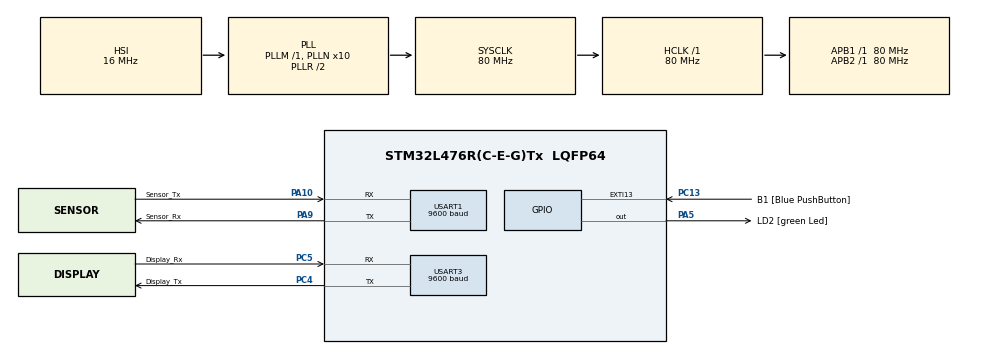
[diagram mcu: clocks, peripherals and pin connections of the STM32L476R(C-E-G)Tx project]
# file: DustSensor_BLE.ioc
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Mcu.Family=STM32L4
Mcu.Name=STM32L476R(C-E-G)Tx
Mcu.Package=LQFP64
NVIC.PriorityGroup=NVIC_PRIORITYGROUP_4
PA10.GPIO_Label=Sensor_Tx
PA10.Mode=Asynchronous
PA10.Signal=USART1_RX
PA13\ (JTMS-SWDIO).GPIO_Label=TMS
PA13\ (JTMS-SWDIO).Mode=Serial_Wire
PA13\ (JTMS-SWDIO).Signal=SYS_JTMS-SWDIO
PA14\ (JTCK-SWCLK).GPIO_Label=TCK
PA14\ (JTCK-SWCLK).Mode=Serial_Wire
PA14\ (JTCK-SWCLK).Signal=SYS_JTCK-SWCLK
PA5.GPIO_Label=LD2 [green Led]
PA5.GPIO_ModeDefaultOutputPP=GPIO_MODE_OUTPUT_PP
PA5.GPIO_PuPd=GPIO_NOPULL
PA5.GPIO_Speed=GPIO_SPEED_FREQ_LOW
PA5.Signal=GPIO_Output
PA9.GPIO_Label=Sensor_Rx
PA9.Mode=Asynchronous
PA9.Signal=USART1_TX
PB3\ (JTDO-TRACESWO).GPIO_Label=SWO
PB3\ (JTDO-TRACESWO).Signal=SYS_JTDO-SWO
PC13.GPIO_Label=B1 [Blue PushButton]
PC13.GPIO_ModeDefaultEXTI=GPIO_MODE_IT_FALLING
PC13.GPIO_PuPd=GPIO_NOPULL
PC13.Signal=GPXTI13
PC14-OSC32_IN\ (PC14).Mode=LSE-External-Oscillator
PC14-OSC32_IN\ (PC14).Signal=RCC_OSC32_IN
PC15-OSC32_OUT\ (PC15).Mode=LSE-External-Oscillator
PC15-OSC32_OUT\ (PC15).Signal=RCC_OSC32_OUT
PC4.GPIO_Label=Display_Tx
PC4.Mode=Asynchronous
PC4.Signal=USART3_TX
PC5.GPIO_Label=Display_Rx
PC5.Mode=Asynchronous
PC5.Signal=USART3_RX
ProjectManager.HeapSize=0x200
ProjectManager.StackSize=0x400
ProjectManager.TargetToolchain=MDK-ARM V5
RCC.ADCFreq_Value=64000000
RCC.AHBFreq_Value=80000000
RCC.APB1Freq_Value=80000000
RCC.APB1TimFreq_Value=80000000
RCC.APB2Freq_Value=80000000
RCC.APB2TimFreq_Value=80000000
RCC.CortexFreq_Value=80000000
RCC.HCLKFreq_Value=80000000
RCC.HSE_VALUE=8000000
RCC.HSI_VALUE=16000000
RCC.MSI_VALUE=4000000
RCC.PLLN=10
RCC.PLLSourceVirtual=RCC_PLLSOURCE_HSI
RCC.PREFETCH_ENABLE=1
RCC.SYSCLKFreq_VALUE=80000000
RCC.SYSCLKSource=RCC_SYSCLKSOURCE_PLLCLK
RCC.USBFreq_Value=64000000
RCC.VCOOutputFreq_Value=160000000
USART1.BaudRate=9600
USART1.DMADisableonRxErrorParam=ADVFEATURE_DMA_DISABLEONRXERROR
USART1.OverrunDisableParam=ADVFEATURE_OVERRUN_DISABLE
USART1.VirtualMode-Asynchronous=VM_ASYNC
USART3.BaudRate=9600
USART3.DMADisableonRxErrorParam=ADVFEATURE_DMA_DISABLEONRXERROR
USART3.OverrunDisableParam=ADVFEATURE_OVERRUN_DISABLE
USART3.VirtualMode-Asynchronous=VM_ASYNC
board=NUCLEO-L476RG

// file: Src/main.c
/* USER CODE BEGIN Header */
/**
  ******************************************************************************
  * @file           : main.c
  * @brief          : Main program body
  ******************************************************************************
  ** This notice applies to any and all portions of this file
  * that are not between comment pairs USER CODE BEGIN and
  * USER CODE END. Other portions of this file, whether
  * inserted by the user or by software development tools
  * are owned by their respective copyright owners.
  *
  * COPYRIGHT(c) 2019 STMicroelectronics
  *
  * Redistribution and use in source and binary forms, with or without modification,
  * are permitted provided that the following conditions are met:
  *   1. Redistributions of source code must retain the above copyright notice,
  *      this list of conditions and the following disclaimer.
  *   2. Redistributions in binary form must reproduce the above copyright notice,
  *      this list of conditions and the following disclaimer in the documentation
  *      and/or other materials provided with the distribution.
  *   3. Neither the name of STMicroelectronics nor the names of its contributors
  *      may be used to endorse or promote products derived from this software
  *      without specific prior written permission.
  *
  * THIS SOFTWARE IS PROVIDED BY THE COPYRIGHT HOLDERS AND CONTRIBUTORS "AS IS"
  * AND ANY EXPRESS OR IMPLIED WARRANTIES, INCLUDING, BUT NOT LIMITED TO, THE
  * IMPLIED WARRANTIES OF MERCHANTABILITY AND FITNESS FOR A PARTICULAR PURPOSE ARE
  * DISCLAIMED. IN NO EVENT SHALL THE COPYRIGHT HOLDER OR CONTRIBUTORS BE LIABLE
  * FOR ANY DIRECT, INDIRECT, INCIDENTAL, SPECIAL, EXEMPLARY, OR CONSEQUENTIAL
  * DAMAGES (INCLUDING, BUT NOT LIMITED TO, PROCUREMENT OF SUBSTITUTE GOODS OR
  * SERVICES; LOSS OF USE, DATA, OR PROFITS; OR BUSINESS INTERRUPTION) HOWEVER
  * CAUSED AND ON ANY THEORY OF LIABILITY, WHETHER IN CONTRACT, STRICT LIABILITY,
  * OR TORT (INCLUDING NEGLIGENCE OR OTHERWISE) ARISING IN ANY WAY OUT OF THE USE
  * OF THIS SOFTWARE, EVEN IF ADVISED OF THE POSSIBILITY OF SUCH DAMAGE.
  *
  ******************************************************************************
  */
/* USER CODE END Header */

#include "main.h"

/* USER CODE BEGIN Includes */
#include "stdio.h"
#include "pms5003.h"
/* USER CODE END Includes */

UART_HandleTypeDef huart1; //transmit data
UART_HandleTypeDef huart3; //display data

/* USER CODE BEGIN PV */
extern struct PMS5003_Data PMS5003; //share PMS5003_Data struct from PMS5003.h to main.c
																		//PMS5003_Data struct variable is PMS5003
/* USER CODE END PV */

void SystemClock_Config(void);
static void MX_GPIO_Init(void);
static void MX_USART1_UART_Init(void);
static void MX_USART3_UART_Init(void);

int main(void)
{

  /* MCU Configuration--------------------------------------------------------*/

  /* Reset of all peripherals, Initializes the Flash interface and the Systick. */
  HAL_Init();

  /* Configure the system clock */
  SystemClock_Config();

  /* Initialize all configured peripherals */
  MX_GPIO_Init();
  MX_USART1_UART_Init();
  MX_USART3_UART_Init();

  /* Infinite loop */
  while (1)
  {

    /* USER CODE BEGIN 3 */
		if(PMS5003_ReceiveData(&huart1) == PMS5003_RECEIVED){
			printf("Frame: %d\r\n ",PMS5003.frame);
			printf("Checksum: %d\r\n ",PMS5003.checksum);
			printf("PM1.0: %d ",PMS5003.pm1p0);
			printf("PM2.5: %d ",PMS5003.pm2p5);
			printf("PM10: %d\r\n",PMS5003.pm10);
			printf("-PM1.0: %d",PMS5003.pm1p0_ATM);
			printf("-PM2.5: %d",PMS5003.pm2p5_ATM);
			printf("-PM10 %d\r\n",PMS5003.pm10_ATM);
			HAL_Delay(2000);
		}
  }
  /* USER CODE END 3 */
}

void SystemClock_Config(void)
{
  RCC_OscInitTypeDef RCC_OscInitStruct = {0};
  RCC_ClkInitTypeDef RCC_ClkInitStruct = {0};
  RCC_PeriphCLKInitTypeDef PeriphClkInit = {0};

  /**Initializes the CPU, AHB and APB busses clocks
  */
  RCC_OscInitStruct.OscillatorType = RCC_OSCILLATORTYPE_HSI;
  RCC_OscInitStruct.HSIState = RCC_HSI_ON;
  RCC_OscInitStruct.HSICalibrationValue = RCC_HSICALIBRATION_DEFAULT;
  RCC_OscInitStruct.PLL.PLLState = RCC_PLL_ON;
  RCC_OscInitStruct.PLL.PLLSource = RCC_PLLSOURCE_HSI;
  RCC_OscInitStruct.PLL.PLLM = 1;
  RCC_OscInitStruct.PLL.PLLN = 10;
  RCC_OscInitStruct.PLL.PLLP = RCC_PLLP_DIV7;
  RCC_OscInitStruct.PLL.PLLQ = RCC_PLLQ_DIV2;
  RCC_OscInitStruct.PLL.PLLR = RCC_PLLR_DIV2;
  if (HAL_RCC_OscConfig(&RCC_OscInitStruct) != HAL_OK)
  {
    Error_Handler();
  }
  /**Initializes the CPU, AHB and APB busses clocks
  */
  RCC_ClkInitStruct.ClockType = RCC_CLOCKTYPE_HCLK|RCC_CLOCKTYPE_SYSCLK
                              |RCC_CLOCKTYPE_PCLK1|RCC_CLOCKTYPE_PCLK2;
  RCC_ClkInitStruct.SYSCLKSource = RCC_SYSCLKSOURCE_PLLCLK;
  RCC_ClkInitStruct.AHBCLKDivider = RCC_SYSCLK_DIV1;
  RCC_ClkInitStruct.APB1CLKDivider = RCC_HCLK_DIV1;
  RCC_ClkInitStruct.APB2CLKDivider = RCC_HCLK_DIV1;

  if (HAL_RCC_ClockConfig(&RCC_ClkInitStruct, FLASH_LATENCY_4) != HAL_OK)
  {
    Error_Handler();
  }
  PeriphClkInit.PeriphClockSelection = RCC_PERIPHCLK_USART1|RCC_PERIPHCLK_USART3;
  PeriphClkInit.Usart1ClockSelection = RCC_USART1CLKSOURCE_PCLK2;
  PeriphClkInit.Usart3ClockSelection = RCC_USART3CLKSOURCE_PCLK1;
  if (HAL_RCCEx_PeriphCLKConfig(&PeriphClkInit) != HAL_OK)
  {
    Error_Handler();
  }
  /**Configure the main internal regulator output voltage
  */
  if (HAL_PWREx_ControlVoltageScaling(PWR_REGULATOR_VOLTAGE_SCALE1) != HAL_OK)
  {
    Error_Handler();
  }
}

static void MX_USART1_UART_Init(void)
{

  huart1.Instance = USART1;
  huart1.Init.BaudRate = 9600;
  huart1.Init.WordLength = UART_WORDLENGTH_8B;
  huart1.Init.StopBits = UART_STOPBITS_1;
  huart1.Init.Parity = UART_PARITY_NONE;
  huart1.Init.Mode = UART_MODE_TX_RX;
  huart1.Init.HwFlowCtl = UART_HWCONTROL_NONE;
  huart1.Init.OverSampling = UART_OVERSAMPLING_16;
  huart1.Init.OneBitSampling = UART_ONE_BIT_SAMPLE_DISABLE;
  huart1.AdvancedInit.AdvFeatureInit = UART_ADVFEATURE_RXOVERRUNDISABLE_INIT|UART_ADVFEATURE_DMADISABLEONERROR_INIT;
  huart1.AdvancedInit.OverrunDisable = UART_ADVFEATURE_OVERRUN_DISABLE;
  huart1.AdvancedInit.DMADisableonRxError = UART_ADVFEATURE_DMA_DISABLEONRXERROR;
  if (HAL_UART_Init(&huart1) != HAL_OK)
  {
    Error_Handler();
  }

}

static void MX_USART3_UART_Init(void)
{

  huart3.Instance = USART3;
  huart3.Init.BaudRate = 9600;
  huart3.Init.WordLength = UART_WORDLENGTH_8B;
  huart3.Init.StopBits = UART_STOPBITS_1;
  huart3.Init.Parity = UART_PARITY_NONE;
  huart3.Init.Mode = UART_MODE_TX_RX;
  huart3.Init.HwFlowCtl = UART_HWCONTROL_NONE;
  huart3.Init.OverSampling = UART_OVERSAMPLING_16;
  huart3.Init.OneBitSampling = UART_ONE_BIT_SAMPLE_DISABLE;
  huart3.AdvancedInit.AdvFeatureInit = UART_ADVFEATURE_RXOVERRUNDISABLE_INIT|UART_ADVFEATURE_DMADISABLEONERROR_INIT;
  huart3.AdvancedInit.OverrunDisable = UART_ADVFEATURE_OVERRUN_DISABLE;
  huart3.AdvancedInit.DMADisableonRxError = UART_ADVFEATURE_DMA_DISABLEONRXERROR;
  if (HAL_UART_Init(&huart3) != HAL_OK)
  {
    Error_Handler();
  }

}

static void MX_GPIO_Init(void)
{
  GPIO_InitTypeDef GPIO_InitStruct = {0};

  /* GPIO Ports Clock Enable */
  __HAL_RCC_GPIOC_CLK_ENABLE();
  __HAL_RCC_GPIOA_CLK_ENABLE();
  __HAL_RCC_GPIOB_CLK_ENABLE();

  /*Configure GPIO pin Output Level */
  HAL_GPIO_WritePin(LD2_GPIO_Port, LD2_Pin, GPIO_PIN_RESET);

  /*Configure GPIO pin : B1_Pin */
  GPIO_InitStruct.Pin = B1_Pin;
  GPIO_InitStruct.Mode = GPIO_MODE_IT_FALLING;
  GPIO_InitStruct.Pull = GPIO_NOPULL;
  HAL_GPIO_Init(B1_GPIO_Port, &GPIO_InitStruct);

  /*Configure GPIO pin : LD2_Pin */
  GPIO_InitStruct.Pin = LD2_Pin;
  GPIO_InitStruct.Mode = GPIO_MODE_OUTPUT_PP;
  GPIO_InitStruct.Pull = GPIO_NOPULL;
  GPIO_InitStruct.Speed = GPIO_SPEED_FREQ_LOW;
  HAL_GPIO_Init(LD2_GPIO_Port, &GPIO_InitStruct);

}

/* USER CODE BEGIN 4 */
#ifdef __GNUC__
  #define PUTCHAR_PROTOTYPE int __io_putchar(int ch)
#else
  #define PUTCHAR_PROTOTYPE int fputc(int ch, FILE *f)
#endif /* __GNUC__ */
PUTCHAR_PROTOTYPE
{
    HAL_UART_Transmit(&huart3, (uint8_t *)&ch, 1, 100);
    return ch;
}
/* USER CODE END 4 */

void Error_Handler(void)
{
}

/************************ (C) COPYRIGHT STMicroelectronics *****END OF FILE****/
